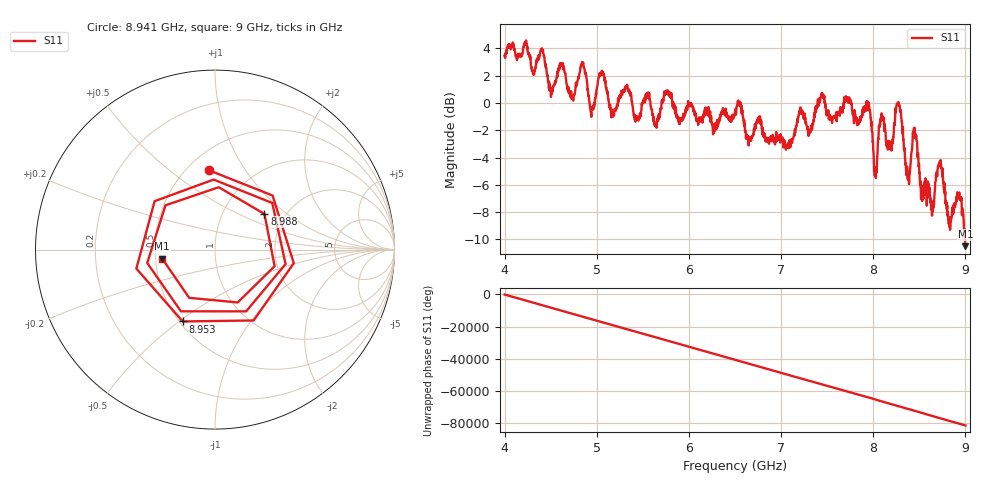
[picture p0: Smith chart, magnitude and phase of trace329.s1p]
! Created with skrf 1.8.0 (http://scikit-rf.org).
# Hz S RI R 50.0
!freq ReS11 ImS11
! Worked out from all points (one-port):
!   1601 points, 4 GHz to 9 GHz, reference 50 ohm
!   lowest |S11| = -10.5 dB at 9 GHz (marker M1), VSWR 1.85, Z = 27.2 - j2.98 ohm
!   |S11| at or under -10 dB: 8.994813 GHz to end of sweep
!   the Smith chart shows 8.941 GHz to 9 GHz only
!   S11 on the Smith chart (normalised r, x): 8.941 GHz: 0.64, +0.70; 8.953 GHz: 0.52, -0.52; 8.988 GHz: 1.57, +0.70; 9 GHz: 0.54, -0.06
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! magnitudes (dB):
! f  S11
! 4 GHz  3.5
! 4.406 GHz  4.0
! 4.506 GHz  0.9
! 4.625 GHz  2.9
! 4.734 GHz  0.3
! 4.853 GHz  3.0
! 4.947 GHz  -0.5
! 5.053 GHz  2.3
! 5.25 GHz  0.4
! 5.875 GHz  -1.0
! 6.5 GHz  -0.6
! 7.125 GHz  -2.7
! 7.75 GHz  0.1
! 7.947 GHz  0.0
! 8.025 GHz  -5.1
! 8.084 GHz  -1.3
! 8.181 GHz  -2.8
! 8.275 GHz  0.0
! 8.375 GHz  -5.6
! 8.45 GHz  -2.0
! 8.531 GHz  -7.2
! 8.644 GHz  -8.0
! 8.722 GHz  -4.3
! 8.825 GHz  -9.1
! 8.941 GHz  -7.1
! 8.953 GHz  -7.2
! 8.988 GHz  -9.4
! 9 GHz  -10.5
